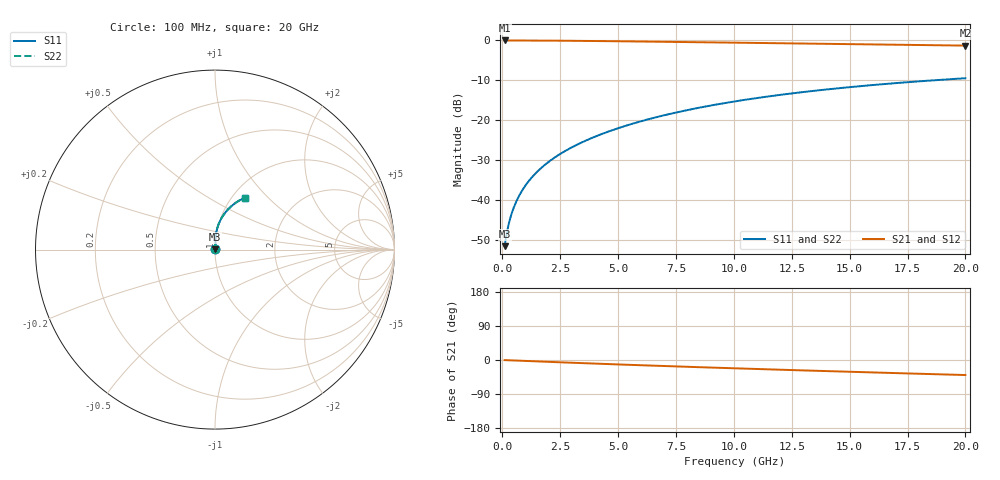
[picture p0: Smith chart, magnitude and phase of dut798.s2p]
! Touchstone file exported from HFSS 2024.1.0
!  File:  C:/UserFiles/LocalFiles/RDL_TSV_Batchsim/temp_RDL_top_798_1779853629.aedt
!  Generated:  11:49:17 AM May 27, 2026
!  Design:  RDL_top
!  Project:  temp_RDL_top_798_1779853629
!  Setup:  Setup1
!  Solution:  Sweep
! Variables:
!  dtsv = 10.80580581um
!  hbump = 3um
!  htsv = 63.63um
!  ldown = 100um
!  lrdl = 581.32um
!  p = 40
!  p1 = 51.83um
!  rhole = 1um
!  t = 450um
!  tdown = 3.915915916um
!  trdl = 4.58um
!  wdown = 15.38538539um
!  wrdl = 24.73um
# GHz S MA R 50.000000
! Terminal data exported
! Port[1] = Box2_T1
! Port[2] = Box2_T2
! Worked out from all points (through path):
!   200 points, 100 MHz to 20 GHz, reference 50 ohm
!   highest |S21| = -0.02 dB at 100 MHz (marker M1); lowest = -1.3 dB at 20 GHz (marker M2)
!   group delay of S21, straight-line fit = 5.44 ps
!   lowest |S11| = -51.7 dB at 100 MHz (marker M3), VSWR 1.01, Z = 50.2 + j0.167 ohm
!   |S11| at or under -10 dB: start of sweep to 18.68 GHz
!   |S22| runs from -51.7 to -9.5 dB; largest |S21 - S12| = 6.2e-15
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0.1  0.002609 39.6  0.998 -0.3  0.998 -0.3  0.002609 39.6
! Gamma 0 0 0 0
! Port Impedance 50 0 50 0
0.2  0.00389 56.6  0.9978 -0.5  0.9978 -0.5  0.00389 56.6
0.3  0.005267 64.4  0.9976 -0.8  0.9976 -0.8  0.005267 64.4
0.4  0.006647 69.0  0.9974 -1.0  0.9974 -1.0  0.006646 69.0
0.5  0.008027 72.2  0.9973 -1.2  0.9973 -1.2  0.008027 72.2
0.6  0.009415 74.6  0.9971 -1.5  0.9971 -1.5  0.009414 74.6
0.8  0.01222 78.0  0.9967 -2.0  0.9967 -2.0  0.01222 78.0
1.1  0.01651 81.1  0.9961 -2.7  0.9961 -2.7  0.01651 81.1
1.3  0.01942 82.5  0.9955 -3.2  0.9955 -3.2  0.01942 82.5
1.6  0.02383 83.9  0.9946 -3.9  0.9946 -3.9  0.02383 84.0
2.1  0.03135 85.5  0.9927 -5.1  0.9927 -5.1  0.03135 85.5
2.7  0.04063 86.5  0.9899 -6.5  0.9899 -6.5  0.04064 86.5
3.5  0.05347 87.1  0.9854 -8.4  0.9854 -8.4  0.05348 87.1
4.2  0.06513 87.1  0.9809 -10.0  0.9809 -10.0  0.06515 87.1
5  0.07891 86.7  0.9753 -11.7  0.9753 -11.7  0.07894 86.7
6.8  0.1113 84.7  0.9617 -15.5  0.9617 -15.5  0.1113 84.7
8.4  0.1409 82.1  0.9493 -18.8  0.9493 -18.8  0.141 82.2
10.1  0.1725 79.0  0.936 -22.1  0.936 -22.1  0.1726 79.0
11.7  0.2016 75.8  0.9236 -25.1  0.9236 -25.1  0.2018 75.9
13.4  0.2317 72.4  0.9104 -28.2  0.9104 -28.2  0.2319 72.5
16.7  0.2862 66.0  0.8851 -34.1  0.8851 -34.1  0.2864 66.0
20  0.335 59.8  0.8601 -39.7  0.8601 -39.7  0.3352 59.9
